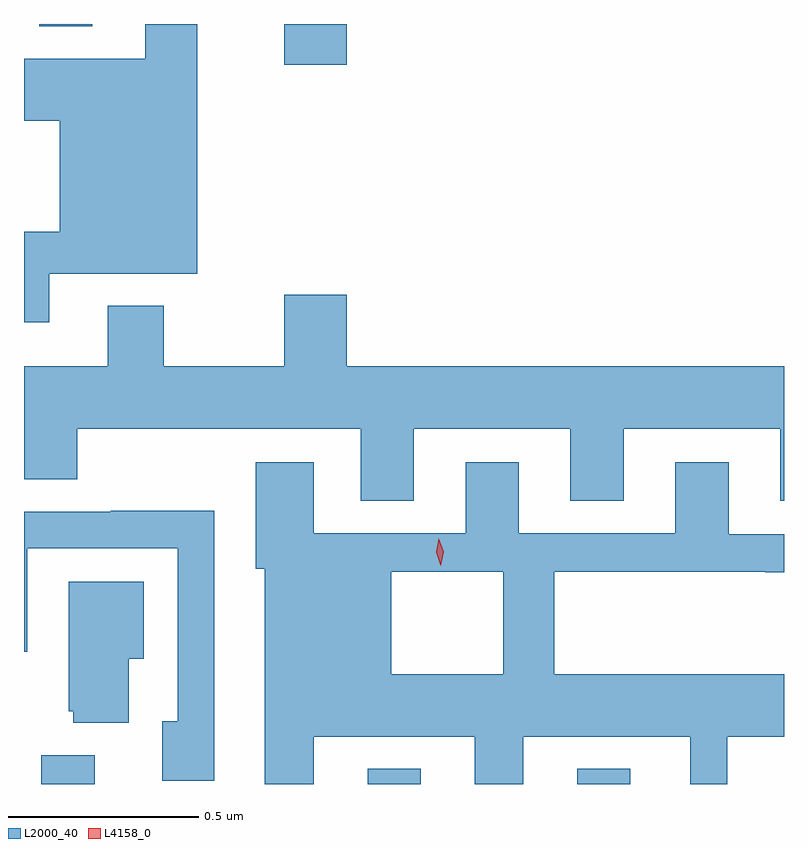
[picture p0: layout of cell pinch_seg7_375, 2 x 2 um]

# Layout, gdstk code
import gdstk
lib = gdstk.Library(unit=1e-6, precision=1e-09)
def R(c, l, rs):  # rectangles x0, y0, x1, y1
    for r in rs: c.add(gdstk.rectangle(r[:2], r[2:], *l))
def P(c, l, *ps):  # polygons
    for p in ps: c.add(gdstk.Polygon(p, *l))
L2000_40 = (2000, 40)
L4158_0 = (4158, 0)

pinch_seg7_375 = lib.new_cell('pinch_seg7_375')
R(pinch_seg7_375, L2000_40, [(368.165,1023.657,368.305,1023.733), (369.023,1023.657,369.163,1023.697), (369.575,1023.657,369.715,1023.697), (368.804,1025.55,368.968,1025.657), (368.159,1025.651,368.299,1025.657)])
P(pinch_seg7_375, L2000_40, [(368.185,1025),(368.575,1025),(368.575,1025.657),(368.438,1025.657),(368.438,1025.566),(368.119,1025.566),(368.119,1025.402),(368.213,1025.402),(368.213,1025.11),(368.119,1025.11),(368.119,1024.872),(368.185,1024.872)],
  [(369.145,1024.592),(369.557,1024.592),(369.557,1024.402),(369.697,1024.402),(369.697,1024.592),(370.109,1024.592),(370.109,1024.402),(370.119,1024.402),(370.119,1024.756),(368.968,1024.756),(368.968,1024.945),(368.804,1024.945),(368.804,1024.756),(368.487,1024.756),(368.487,1024.915),(368.339,1024.915),(368.339,1024.756),(368.119,1024.756),(368.119,1024.459),(368.259,1024.459),(368.259,1024.592),(369.005,1024.592),(369.005,1024.402),(369.145,1024.402)],
  [(368.881,1023.657),(368.881,1023.782),(369.305,1023.782),(369.305,1023.657),(369.433,1023.657),(369.433,1023.782),(369.872,1023.782),(369.872,1023.657),(369.97,1023.657),(369.97,1023.782),(370.119,1023.782),(370.119,1023.946),(369.515,1023.946),(369.515,1024.216),(370.069,1024.216),(370.069,1024.214),(370.119,1024.214),(370.119,1024.314),(369.973,1024.314),(369.973,1024.504),(369.833,1024.504),(369.833,1024.317),(369.421,1024.317),(369.421,1024.504),(369.281,1024.504),(369.281,1024.317),(368.881,1024.317),(368.881,1024.504),(368.729,1024.504),(368.729,1024.224),(368.753,1024.224),(368.753,1023.946),(369.085,1023.946),(369.085,1024.216),(369.38,1024.216),(369.38,1023.946),(369.085,1023.946),(368.753,1023.946),(368.753,1023.657)],
  [(368.62,1024.124),(368.619,1024.124),(368.619,1024.376),(368.347,1024.376),(368.347,1024.374),(368.119,1024.374),(368.119,1024.005),(368.127,1024.005),(368.127,1024.278),(368.523,1024.278),(368.523,1023.822),(368.483,1023.822),(368.483,1023.666),(368.62,1023.666)],
  [(368.395,1023.986),(368.434,1023.986),(368.434,1024.189),(368.237,1024.189),(368.237,1023.849),(368.249,1023.849),(368.249,1023.818),(368.395,1023.818)])
P(pinch_seg7_375, L4158_0, [(369.216,1024.231),(369.216,1024.232),(369.204,1024.267),(369.211,1024.303),(369.211,1024.304),(369.211,1024.303),(369.224,1024.268),(369.216,1024.232)])

lib.write_gds('pinch_seg7_375.gds')
